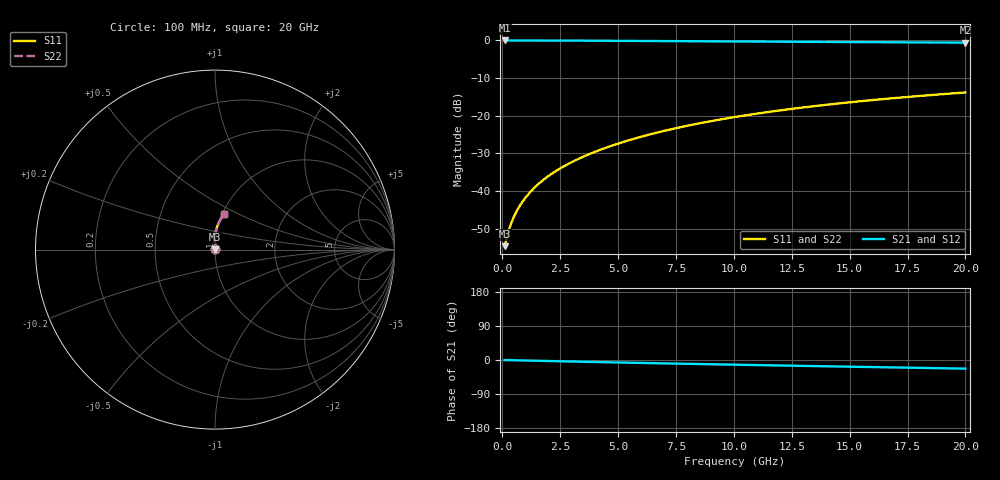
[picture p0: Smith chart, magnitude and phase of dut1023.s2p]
! Touchstone file exported from HFSS 2024.1.0
!  File:  C:/UserFiles/LocalFiles/RDL_TSV_Batchsim/temp_RDL_bottom_1023_1780050825.aedt
!  Generated:  06:36:14 PM May 29, 2026
!  Design:  RDL_bottom
!  Project:  temp_RDL_bottom_1023_1780050825
!  Setup:  Setup1
!  Solution:  Sweep
! Variables:
!  dtsv = 10.80580581um
!  hbump = 3um
!  htsv = 72.22um
!  ldown = 322.57um
!  lrdl = 100um
!  p = 40
!  p1 = 47.56um
!  rhole = 1um
!  t = 450um
!  tdown = 3.17um
!  trdl = 3.915915916um
!  wdown = 26.79um
!  wrdl = 20um
# GHz S MA R 50.000000
! Terminal data exported
! Port[1] = RDL1_T1
! Port[2] = RDL1_T2
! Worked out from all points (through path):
!   200 points, 100 MHz to 20 GHz, reference 50 ohm
!   highest |S21| = -0.01 dB at 100 MHz (marker M1); lowest = -0.6 dB at 20 GHz (marker M2)
!   group delay of S21, straight-line fit = 3.12 ps
!   lowest |S11| = -54.6 dB at 100 MHz (marker M3), VSWR 1.00, Z = 50.2 + j0.0925 ohm
!   |S11| at or under -10 dB: start of sweep to end of sweep
!   |S22| runs from -54.6 to -13.8 dB; largest |S21 - S12| = 3e-15
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0.1  0.001864 29.7  0.9984 -0.1  0.9984 -0.1  0.001864 29.7
! Gamma 0 0 0 0
! Port Impedance 50 0 50 0
0.2  0.002476 46.4  0.9983 -0.3  0.9983 -0.3  0.002476 46.4
0.3  0.003167 55.4  0.9981 -0.4  0.9981 -0.4  0.003167 55.4
0.4  0.003867 61.2  0.998 -0.6  0.998 -0.6  0.003867 61.2
0.5  0.004569 65.3  0.9979 -0.7  0.9979 -0.7  0.004569 65.3
0.6  0.005275 68.5  0.9978 -0.8  0.9978 -0.8  0.005275 68.5
0.8  0.006712 73.3  0.9976 -1.1  0.9976 -1.1  0.006712 73.3
1  0.008184 76.7  0.9974 -1.4  0.9974 -1.4  0.008184 76.7
1.2  0.009686 79.2  0.9971 -1.6  0.9971 -1.6  0.009686 79.2
1.7  0.01356 83.4  0.9964 -2.3  0.9964 -2.3  0.01356 83.4
2.2  0.01757 86.0  0.9954 -3.0  0.9954 -3.0  0.01757 86.0
2.8  0.02258 88.1  0.994 -3.8  0.994 -3.8  0.02258 88.1
3.5  0.0287 89.7  0.9921 -4.7  0.9921 -4.7  0.0287 89.7
4.2  0.0351 90.7  0.9899 -5.6  0.9899 -5.6  0.0351 90.7
5  0.04275 91.3  0.9871 -6.6  0.9871 -6.6  0.04275 91.2
6.8  0.06106 91.1  0.9804 -8.7  0.9804 -8.7  0.06106 91.1
8.4  0.07822 90.0  0.9743 -10.6  0.9743 -10.6  0.07822 90.0
10.1  0.09692 88.2  0.968 -12.5  0.968 -12.5  0.09692 88.2
11.7  0.1147 86.3  0.9622 -14.2  0.9622 -14.2  0.1147 86.3
13.4  0.1335 84.2  0.9563 -16.0  0.9563 -16.0  0.1335 84.2
16.7  0.1693 79.9  0.9451 -19.4  0.9451 -19.4  0.1693 79.9
20  0.2038 75.7  0.9342 -22.8  0.9342 -22.8  0.2038 75.7
